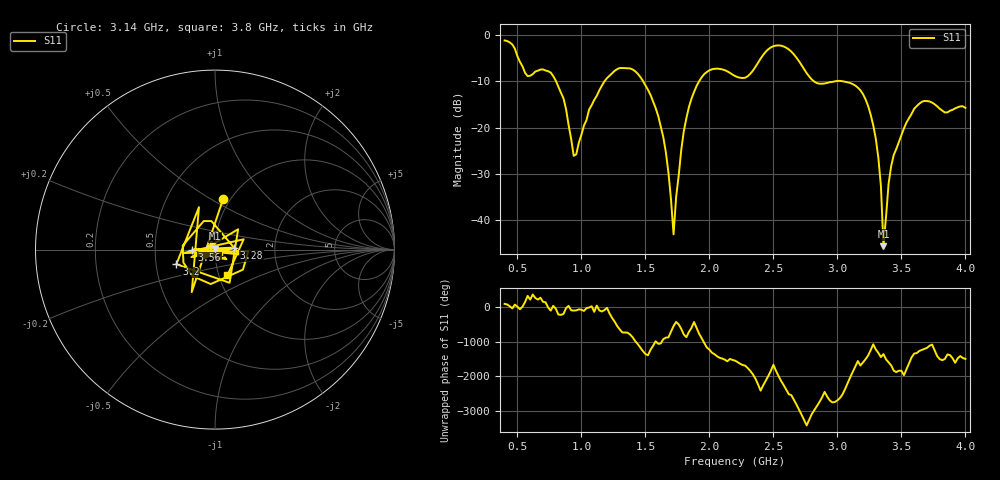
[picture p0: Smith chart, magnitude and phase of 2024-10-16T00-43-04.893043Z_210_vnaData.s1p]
! Created with skrf (http://scikit-rf.org).
# Hz S RI R 50.0
!freq ReS11 ImS11
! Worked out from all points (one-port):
!   181 points, 400 MHz to 4 GHz, reference 50 ohm
!   lowest |S11| = -45.5 dB at 3.36 GHz (marker M1), VSWR 1.01, Z = 50.1 + j0.523 ohm
!   |S11| at or under -10 dB: 801.7 MHz to 1.18 GHz (378.7 MHz wide, 38.2 % of centre); 1.482 GHz to 1.919 GHz (437.1 MHz wide, 25.7 % of centre); 3.042 GHz to end of sweep (the widest 3 of 4)
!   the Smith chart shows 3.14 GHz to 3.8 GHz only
!   S11 on the Smith chart (normalised r, x): 3.14 GHz: 0.93, +0.57; 3.2 GHz: 0.64, -0.11; 3.28 GHz: 1.24, +0.02; 3.56 GHz: 0.77, +0.00; 3.8 GHz: 1.10, -0.32
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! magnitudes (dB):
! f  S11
! 400 MHz  -1.2
! 580 MHz  -8.9
! 760 MHz  -8.1
! 860 MHz  -13.7
! 940 MHz  -26.1
! 1.06 GHz  -16.1
! 1.3 GHz  -7.1
! 1.44 GHz  -8.4
! 1.6 GHz  -17.5
! 1.66 GHz  -25.3
! 1.72 GHz  -43.0
! 1.76 GHz  -30.3
! 1.82 GHz  -18.0
! 1.92 GHz  -10.0
! 2.2 GHz  -8.9
! 2.5 GHz  -2.4
! 2.66 GHz  -4.2
! 2.84 GHz  -10.4
! 3.1 GHz  -10.4
! 3.14 GHz  -10.9
! 3.2 GHz  -12.8
! 3.28 GHz  -19.5
! 3.34 GHz  -32.6
! 3.36 GHz  -45.5
! 3.42 GHz  -28.3
! 3.56 GHz  -17.9
! 3.8 GHz  -15.9
! 4 GHz  -15.7
